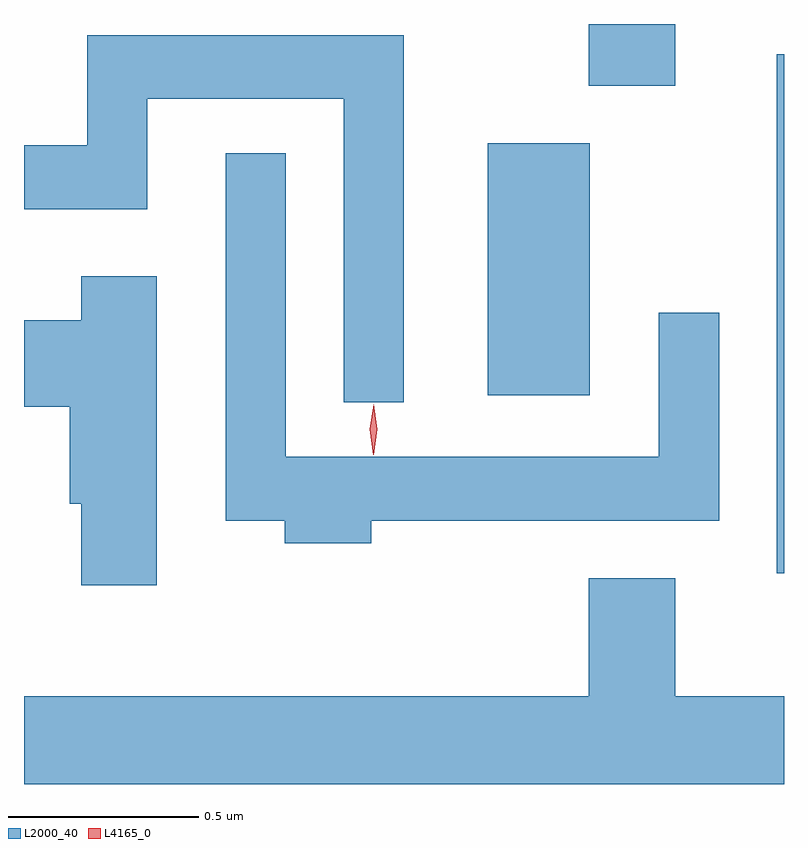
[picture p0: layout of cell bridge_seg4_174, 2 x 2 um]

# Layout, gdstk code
import gdstk
lib = gdstk.Library(unit=1e-6, precision=1e-09)
def R(c, l, rs):  # rectangles x0, y0, x1, y1
    for r in rs: c.add(gdstk.rectangle(r[:2], r[2:], *l))
def P(c, l, *ps):  # polygons
    for p in ps: c.add(gdstk.Polygon(p, *l))
L2000_40 = (2000, 40)
L4165_0 = (4165, 0)

bridge_seg4_174 = lib.new_cell('bridge_seg4_174')
R(bridge_seg4_174, L2000_40, [(946.396,1273.128,946.415,1274.494), (945.636,1273.596,945.904,1274.259), (945.901,1274.411,946.129,1274.573)])
P(bridge_seg4_174, L2000_40, [(945.414,1274.544),(944.581,1274.544),(944.581,1274.254),(944.415,1274.254),(944.415,1274.086),(944.739,1274.086),(944.739,1274.376),(945.256,1274.376),(945.256,1273.578),(945.414,1273.578)],
  [(945.329,1273.266),(946.244,1273.266),(946.244,1273.813),(946.086,1273.813),(946.086,1273.434),(945.104,1273.434),(945.104,1274.233),(944.946,1274.233),(944.946,1273.266),(945.101,1273.266),(945.101,1273.206),(945.329,1273.206)],
  [(944.764,1273.909),(944.566,1273.909),(944.566,1273.794),(944.415,1273.794),(944.415,1273.566),(944.536,1273.566),(944.536,1273.311),(944.566,1273.311),(944.566,1273.096),(944.764,1273.096)],
  [(946.415,1272.804),(946.129,1272.804),(946.129,1273.114),(945.901,1273.114),(945.901,1272.804),(944.415,1272.804),(944.415,1272.573),(946.415,1272.573)])
P(bridge_seg4_174, L4165_0, [(945.335,1273.439),(945.334,1273.44),(945.325,1273.506),(945.335,1273.572),(945.335,1273.573),(945.336,1273.572),(945.345,1273.506),(945.335,1273.44)])

lib.write_gds('bridge_seg4_174.gds')
